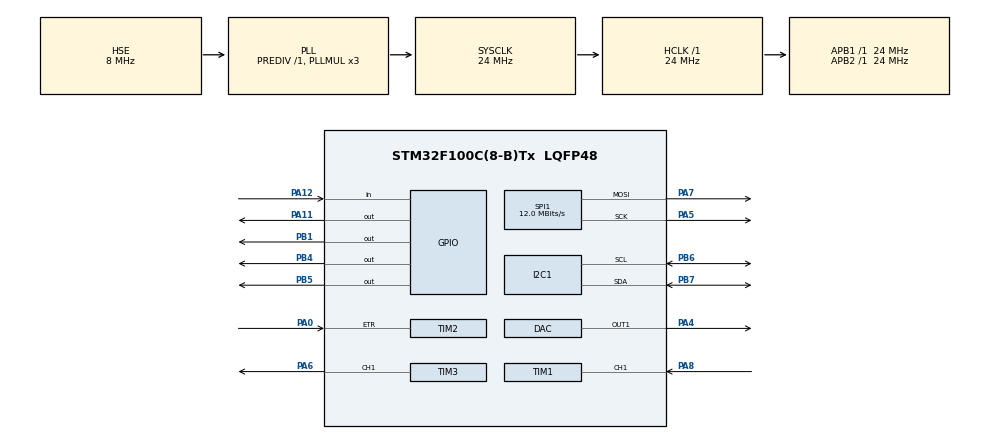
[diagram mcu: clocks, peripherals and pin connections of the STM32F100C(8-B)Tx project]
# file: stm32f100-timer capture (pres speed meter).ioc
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Mcu.Family=STM32F1
Mcu.Name=STM32F100C(8-B)Tx
Mcu.Package=LQFP48
NVIC.PriorityGroup=NVIC_PRIORITYGROUP_4
NVIC.TIM1_CC_IRQn=true\:0\:0\:false\:false\:true
NVIC.TIM1_UP_TIM16_IRQn=true\:0\:0\:false\:false\:true
PA0-WKUP.Signal=S_TIM2_CH1_ETR
PA11.Signal=GPIO_Output
PA12.Signal=GPIO_Input
PA13.Mode=Trace_Asynchronous_SW
PA13.Signal=SYS_JTMS-SWDIO
PA14.Mode=Trace_Asynchronous_SW
PA14.Signal=SYS_JTCK-SWCLK
PA4.Signal=COMP_DAC1_group
PA5.Mode=TX_Only_Simplex_Unidirect_Master
PA5.Signal=SPI1_SCK
PA6.Signal=S_TIM3_CH1
PA7.Mode=TX_Only_Simplex_Unidirect_Master
PA7.Signal=SPI1_MOSI
PA8.Signal=S_TIM1_CH1
PB1.Signal=GPIO_Output
PB3.Mode=Trace_Asynchronous_SW
PB3.Signal=SYS_JTDO-TRACESWO
PB4.Signal=GPIO_Output
PB5.Signal=GPIO_Output
PB6.Mode=I2C
PB6.Signal=I2C1_SCL
PB7.Mode=I2C
PB7.Signal=I2C1_SDA
PD0-OSC_IN.Mode=HSE-External-Oscillator
PD0-OSC_IN.Signal=RCC_OSC_IN
PD1-OSC_OUT.Mode=HSE-External-Oscillator
PD1-OSC_OUT.Signal=RCC_OSC_OUT
ProjectManager.HeapSize=0x200
ProjectManager.StackSize=0x400
ProjectManager.TargetToolchain=MDK-ARM V5
RCC.AHBFreq_Value=24000000
RCC.APB1Freq_Value=24000000
RCC.APB1TimFreq_Value=24000000
RCC.APB2Freq_Value=24000000
RCC.APB2TimFreq_Value=24000000
RCC.HCLKFreq_Value=24000000
RCC.PLLMUL=RCC_PLL_MUL3
RCC.PLLSource=RCC_PLLSOURCE_HSE
RCC.SYSCLKFreq_VALUE=24000000
RCC.SYSCLKSource=RCC_SYSCLKSOURCE_PLLCLK
SH.COMP_DAC1_group.0=DAC_OUT1,DAC_OUT1
SH.S_TIM1_CH1.0=TIM1_CH1,Input_Capture1_from_TI1
SH.S_TIM2_CH1_ETR.0=TIM2_ETR,ClockSourceETR_Mode2
SH.S_TIM3_CH1.0=TIM3_CH1,PWM Generation1 CH1
SPI1.BaudRatePrescaler=SPI_BAUDRATEPRESCALER_2
SPI1.CalculateBaudRate=12.0 MBits/s
SPI1.Direction=SPI_DIRECTION_2LINES
SPI1.Mode=SPI_MODE_MASTER
SPI1.VirtualType=VM_MASTER
TIM1.Channel-Input_Capture1_from_TI1=TIM_CHANNEL_1
TIM1.ClockDivision=TIM_CLOCKDIVISION_DIV2
TIM1.ICPolarity_CH1=TIM_INPUTCHANNELPOLARITY_RISING
TIM1.Period=65000
TIM1.Prescaler=240
TIM1.TIM_MasterOutputTrigger=TIM_TRGO_ENABLE
TIM3.Channel-PWM\ Generation1\ CH1=TIM_CHANNEL_1
VP_TIM1_VS_ClockSourceINT.Mode=Internal
VP_TIM3_VS_ClockSourceINT.Mode=Internal
board=stm32f100-timer capture (pres speed meter)

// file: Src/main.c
/**
  ******************************************************************************
  * File Name          : main.c
  * Description        : Main program body
  ******************************************************************************
  *
  * COPYRIGHT(c) 2018 STMicroelectronics
  *
  * Redistribution and use in source and binary forms, with or without modification,
  * are permitted provided that the following conditions are met:
  *   1. Redistributions of source code must retain the above copyright notice,
  *      this list of conditions and the following disclaimer.
  *   2. Redistributions in binary form must reproduce the above copyright notice,
  *      this list of conditions and the following disclaimer in the documentation
  *      and/or other materials provided with the distribution.
  *   3. Neither the name of STMicroelectronics nor the names of its contributors
  *      may be used to endorse or promote products derived from this software
  *      without specific prior written permission.
  *
  * THIS SOFTWARE IS PROVIDED BY THE COPYRIGHT HOLDERS AND CONTRIBUTORS "AS IS"
  * AND ANY EXPRESS OR IMPLIED WARRANTIES, INCLUDING, BUT NOT LIMITED TO, THE
  * IMPLIED WARRANTIES OF MERCHANTABILITY AND FITNESS FOR A PARTICULAR PURPOSE ARE
  * DISCLAIMED. IN NO EVENT SHALL THE COPYRIGHT HOLDER OR CONTRIBUTORS BE LIABLE
  * FOR ANY DIRECT, INDIRECT, INCIDENTAL, SPECIAL, EXEMPLARY, OR CONSEQUENTIAL
  * DAMAGES (INCLUDING, BUT NOT LIMITED TO, PROCUREMENT OF SUBSTITUTE GOODS OR
  * SERVICES; LOSS OF USE, DATA, OR PROFITS; OR BUSINESS INTERRUPTION) HOWEVER
  * CAUSED AND ON ANY THEORY OF LIABILITY, WHETHER IN CONTRACT, STRICT LIABILITY,
  * OR TORT (INCLUDING NEGLIGENCE OR OTHERWISE) ARISING IN ANY WAY OUT OF THE USE
  * OF THIS SOFTWARE, EVEN IF ADVISED OF THE POSSIBILITY OF SUCH DAMAGE.
  *
  ******************************************************************************
  */
#include "main.h"
#include "stm32f1xx_hal.h"
#include "dac.h"
#include "i2c.h"
#include "spi.h"
#include "tim.h"
#include "gpio.h"
#include "mediana.h"

/* USER CODE BEGIN Includes */
#include <stdio.h>
#include "max7219.h"
/* USER CODE END Includes */

/* USER CODE BEGIN PV */
/* Private variables ---------------------------------------------------------*/

/* USER CODE END PV */

void SystemClock_Config(void);
void Error_Handler(void);

/* USER CODE BEGIN PFP */
/* Private function prototypes -----------------------------------------------*/

/* USER CODE END PFP */

/* USER CODE BEGIN 0 */
#define ITM_Port8(n)    (*((volatile unsigned char *)(0xE0000000+4*n)))
#define ITM_Port16(n)   (*((volatile unsigned short*)(0xE0000000+4*n)))
#define ITM_Port32(n)   (*((volatile unsigned long *)(0xE0000000+4*n)))
#define DEMCR           (*((volatile unsigned long *)(0xE000EDFC)))
#define TRCENA          0x01000000
#define VALVE_OFF        HAL_GPIO_WritePin(GPIOA,GPIO_PIN_11,GPIO_PIN_SET)
#define VALVE_ON        HAL_GPIO_WritePin(GPIOA,GPIO_PIN_11,GPIO_PIN_RESET)

struct __FILE { int handle; /* Add whatever you need here */ };
FILE __stdout;
FILE __stdin;
uint64_t bar;

int fputc(int ch, FILE *f) {
   if (DEMCR & TRCENA) {

while (ITM_Port32(0) == 0);
    ITM_Port8(0) = ch;
  }
  return(ch);
}
/* USER CODE END 0 */

int main(void)
{

  /* MCU Configuration----------------------------------------------------------*/

  /* Reset of all peripherals, Initializes the Flash interface and the Systick. */
  HAL_Init();

  /* Configure the system clock */
  SystemClock_Config();

  /* Initialize all configured peripherals */
  MX_GPIO_Init();
  MX_DAC_Init();
  MX_I2C1_Init();
  MX_TIM1_Init();
  MX_TIM2_Init();
  MX_TIM3_Init();
  MX_SPI1_Init();

  /* USER CODE BEGIN 2 */

/*

*/

  /* USER CODE END 2 */

  /* Infinite loop */
  /* USER CODE BEGIN WHILE */
	printf("%d %d %d\n", SystemCoreClock,HAL_RCC_GetPCLK1Freq(),HAL_RCC_GetPCLK2Freq());
	// test display
	 init_max7219(6);

   //  displayDigit(1,0);
 /*    for (int j=0;j<=7;j++) {
     for (int i=0;i<=7;i++) {

     displayDigit(1<<i,j);
     HAL_Delay(20);

     }
     max7219_clean();

 }
   */
   for (uint8_t i=0;i<=50;i++) {

       displayBar(i);
       HAL_Delay(30);
      // printf ("%d  ",i);
        bar=1ULL<<50;

   }

	 HAL_GPIO_WritePin(GPIOB, GPIO_PIN_4, GPIO_PIN_RESET);
	 HAL_GPIO_WritePin(GPIOB, GPIO_PIN_5, GPIO_PIN_SET);
	 HAL_DAC_Start(&hdac, DAC1_CHANNEL_1);
	 HAL_DAC_SetValue(&hdac, DAC1_CHANNEL_1, DAC_ALIGN_12B_R, 0);
	 // HAL_Delay(10000);
/*
for (int i=0;i<4095; i++)
	{
		HAL_DAC_SetValue(&hdac, DAC1_CHANNEL_1, DAC_ALIGN_12B_R, i);
		HAL_Delay(1);
	}

	 HAL_GPIO_WritePin(GPIOB, GPIO_PIN_4, GPIO_PIN_RESET);
	 HAL_GPIO_WritePin(GPIOB, GPIO_PIN_5, GPIO_PIN_RESET);

	HAL_Delay(1000);
	 HAL_GPIO_WritePin(GPIOB, GPIO_PIN_5, GPIO_PIN_RESET);
	 HAL_GPIO_WritePin(GPIOB, GPIO_PIN_4, GPIO_PIN_SET);
		for (int i=4095;i>1; i--)
	{
		HAL_DAC_SetValue(&hdac, DAC1_CHANNEL_1, DAC_ALIGN_12B_R, i);
		HAL_Delay(1);
	}
	HAL_GPIO_WritePin(GPIOB, GPIO_PIN_4, GPIO_PIN_RESET);
	 HAL_GPIO_WritePin(GPIOB, GPIO_PIN_5, GPIO_PIN_RESET);

	*/

	   	if (HAL_TIM_IC_Start_IT(&htim1, TIM_CHANNEL_1)!=HAL_OK)
								{
								Error_Handler();
								}
									HAL_TIM_Base_Start_IT(&htim1);

	//	__HAL_TIM_ENABLE_IT(&htim1, TIM_IT_UPDATE && TIM_IT_CC1);

  while (1)
  {
  /* USER CODE END WHILE */

}
  }

/** System Clock Configuration
*/
void SystemClock_Config(void)
{

  RCC_OscInitTypeDef RCC_OscInitStruct;
  RCC_ClkInitTypeDef RCC_ClkInitStruct;

    /**Initializes the CPU, AHB and APB busses clocks
    */
  RCC_OscInitStruct.OscillatorType = RCC_OSCILLATORTYPE_HSE;
  RCC_OscInitStruct.HSEState = RCC_HSE_ON;
  RCC_OscInitStruct.HSEPredivValue = RCC_HSE_PREDIV_DIV1;
  RCC_OscInitStruct.PLL.PLLState = RCC_PLL_ON;
  RCC_OscInitStruct.PLL.PLLSource = RCC_PLLSOURCE_HSE;
  RCC_OscInitStruct.PLL.PLLMUL = RCC_PLL_MUL3;
  if (HAL_RCC_OscConfig(&RCC_OscInitStruct) != HAL_OK)
  {
    Error_Handler();
  }

    /**Initializes the CPU, AHB and APB busses clocks
    */
  RCC_ClkInitStruct.ClockType = RCC_CLOCKTYPE_HCLK|RCC_CLOCKTYPE_SYSCLK
                              |RCC_CLOCKTYPE_PCLK1|RCC_CLOCKTYPE_PCLK2;
  RCC_ClkInitStruct.SYSCLKSource = RCC_SYSCLKSOURCE_PLLCLK;
  RCC_ClkInitStruct.AHBCLKDivider = RCC_SYSCLK_DIV1;
  RCC_ClkInitStruct.APB1CLKDivider = RCC_HCLK_DIV1;
  RCC_ClkInitStruct.APB2CLKDivider = RCC_HCLK_DIV1;

  if (HAL_RCC_ClockConfig(&RCC_ClkInitStruct, FLASH_LATENCY_0) != HAL_OK)
  {
    Error_Handler();
  }

    /**Configure the Systick interrupt time
    */
  HAL_SYSTICK_Config(HAL_RCC_GetHCLKFreq()/1000);

    /**Configure the Systick
    */
  HAL_SYSTICK_CLKSourceConfig(SYSTICK_CLKSOURCE_HCLK);

  /* SysTick_IRQn interrupt configuration */
  HAL_NVIC_SetPriority(SysTick_IRQn, 0, 0);
}

void Error_Handler(void)
{
  while(1)
  {
  }
}

/************************ (C) COPYRIGHT STMicroelectronics *****END OF FILE****/
